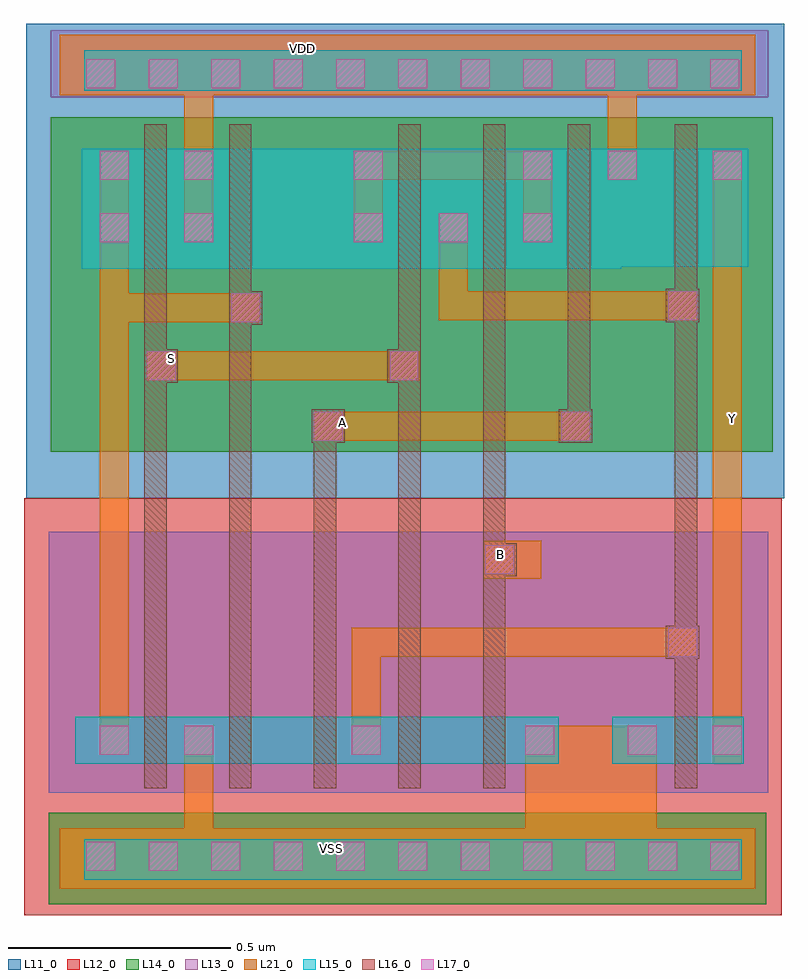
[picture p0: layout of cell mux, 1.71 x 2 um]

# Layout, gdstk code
import gdstk
lib = gdstk.Library(unit=1e-6, precision=1e-09)
def R(c, l, rs):  # rectangles x0, y0, x1, y1
    for r in rs: c.add(gdstk.rectangle(r[:2], r[2:], *l))
def A(c, l, x, y, w, h, nx, ny, dx, dy):  # array of equal rectangles
    R(c, l, [(x+i*dx, y+j*dy, x+i*dx+w, y+j*dy+h) for i in range(nx) for j in range(ny)])
L11_0 = (11, 0)
L12_0 = (12, 0)
L13_0 = (13, 0)
L14_0 = (14, 0)
L15_0 = (15, 0)
L16_0 = (16, 0)
L17_0 = (17, 0)
L21_0 = (21, 0)

mux = lib.new_cell('mux')
R(mux, L11_0, [(0.03,-1.04,1.73,0.025)])
R(mux, L12_0, [(0.025,-1.975,1.725,-1.04)])
R(mux, L13_0, [(0.08,-1.7,1.695,-1.115), (0.085,-0.14,1.695,0.01)])
R(mux, L14_0, [(0.08,-1.95,1.69,-1.745), (0.085,-0.935,1.705,-0.185)])
R(mux, L15_0, [(0.16,-1.895,1.635,-1.805), (0.14,-1.635,1.225,-1.53), (1.345,-1.635,1.64,-1.53), (0.155,-0.525,1.365,-0.255), (1.055,-0.52,1.65,-0.255), (0.16,-0.125,1.635,-0.035)])
R(mux, L16_0, [(0.295,-1.69,0.345,-0.2), (0.485,-1.69,0.535,-0.2), (0.675,-1.69,0.725,-0.84), (0.865,-1.69,0.915,-0.2), (1.055,-1.69,1.105,-0.2), (1.485,-1.69,1.535,-0.2), (1.465,-1.4,1.54,-1.325), (1.055,-1.215,1.13,-1.14), (0.67,-0.915,0.745,-0.84), (1.225,-0.915,1.3,-0.84), (1.245,-0.905,1.295,-0.2), (0.295,-0.78,0.37,-0.705), (0.84,-0.78,0.915,-0.705), (0.485,-0.65,0.56,-0.575), (1.465,-0.645,1.54,-0.57)])
A(mux, L17_0, 0.305, -1.875, 0.065, 0.065, 3, 2, 0.14, 1.755)
A(mux, L17_0, 0.585, -1.875, 0.065, 0.065, 3, 2, 0.14, 1.755)
A(mux, L17_0, 0.865, -1.875, 0.065, 0.065, 3, 2, 0.14, 1.755)
A(mux, L17_0, 1.145, -1.875, 0.065, 0.065, 3, 2, 0.14, 1.755)
A(mux, L17_0, 0.765, -0.465, 0.065, 0.065, 3, 1, 0.19, 0)
A(mux, L17_0, 0.385, -0.325, 0.065, 0.065, 3, 1, 0.38, 0)
R(mux, L17_0, [(0.165,-1.875,0.23,-1.81), (0.305,-1.875,0.37,-1.81), (1.425,-1.875,1.49,-1.81), (1.565,-1.875,1.63,-1.81), (0.195,-1.615,0.26,-1.55), (0.385,-1.615,0.45,-1.55), (0.76,-1.615,0.825,-1.55), (1.15,-1.615,1.215,-1.55), (1.38,-1.615,1.445,-1.55), (1.57,-1.615,1.635,-1.55), (1.47,-1.395,1.535,-1.33), (1.06,-1.21,1.125,-1.145), (0.675,-0.91,0.74,-0.845), (1.23,-0.91,1.295,-0.845), (0.3,-0.775,0.365,-0.71), (0.845,-0.775,0.91,-0.71), (0.49,-0.645,0.555,-0.58), (1.47,-0.64,1.535,-0.575), (0.195,-0.465,0.26,-0.4), (0.385,-0.465,0.45,-0.4), (0.195,-0.325,0.26,-0.26), (1.335,-0.325,1.4,-0.26), (1.57,-0.325,1.635,-0.26), (0.165,-0.12,0.23,-0.055), (0.305,-0.12,0.37,-0.055), (1.425,-0.12,1.49,-0.055), (1.565,-0.12,1.63,-0.055)])
R(mux, L21_0, [(0.105,-1.915,1.665,-1.78), (0.385,-1.78,0.45,-1.55), (1.15,-1.78,1.445,-1.55), (1.57,-1.635,1.635,-0.26), (0.195,-1.615,0.26,-0.26), (0.76,-1.615,0.825,-1.33), (0.77,-1.395,1.535,-1.33), (1.055,-1.22,1.185,-1.135), (0.675,-0.91,1.295,-0.845), (0.3,-0.775,0.915,-0.71), (0.195,-0.645,0.555,-0.58), (0.955,-0.64,1.535,-0.575), (0.955,-0.64,1.02,-0.4), (0.385,-0.465,0.45,-0.13), (0.765,-0.465,0.83,-0.26), (1.145,-0.465,1.21,-0.26), (0.765,-0.325,1.21,-0.26), (1.335,-0.325,1.4,-0.13), (0.105,-0.135,1.665,0)])
mux.add(gdstk.Label('VSS', (0.715,-1.825), layer=21, texttype=251))
mux.add(gdstk.Label('VDD', (0.65,-0.03), layer=21, texttype=251))
mux.add(gdstk.Label('Y', (1.615,-0.86), layer=21, texttype=251))
mux.add(gdstk.Label('S', (0.355,-0.725), layer=21, texttype=251))
mux.add(gdstk.Label('B', (1.095,-1.165), layer=21, texttype=251))
mux.add(gdstk.Label('A', (0.74,-0.87), layer=21, texttype=251))

lib.write_gds('mux.gds')
